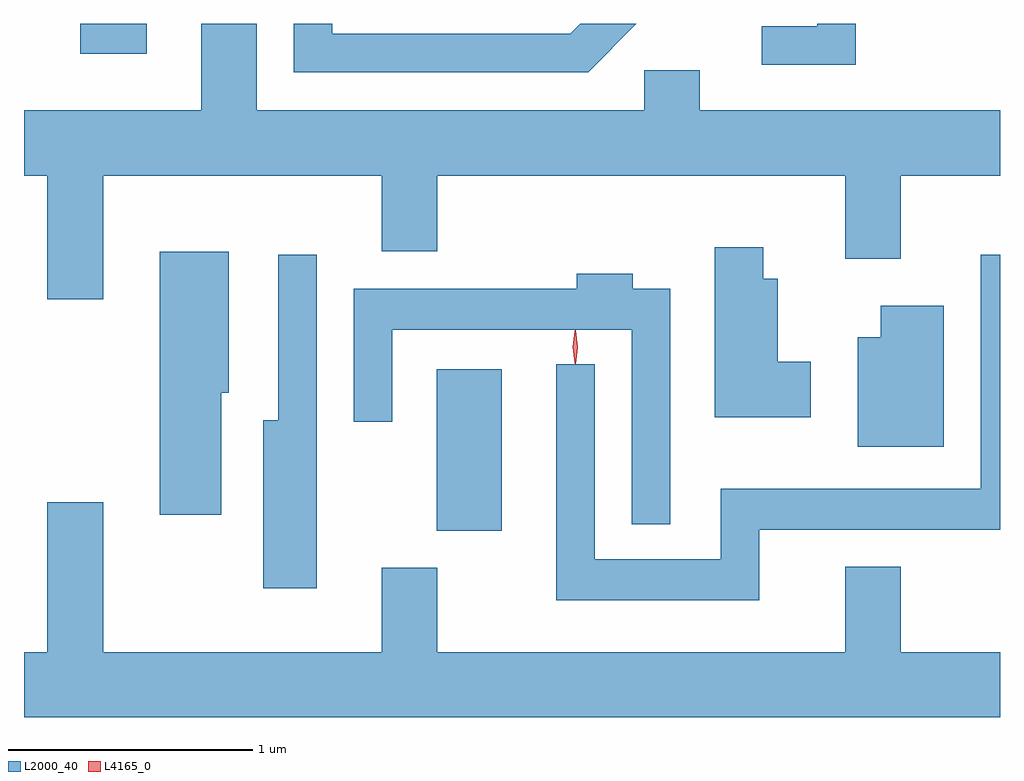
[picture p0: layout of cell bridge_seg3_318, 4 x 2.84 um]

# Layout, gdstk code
import gdstk
lib = gdstk.Library(unit=1e-6, precision=1e-09)
def R(c, l, rs):  # rectangles x0, y0, x1, y1
    for r in rs: c.add(gdstk.rectangle(r[:2], r[2:], *l))
def P(c, l, *ps):  # polygons
    for p in ps: c.add(gdstk.Polygon(p, *l))
L2000_40 = (2000, 40)
L4165_0 = (4165, 0)

bridge_seg3_318 = lib.new_cell('bridge_seg3_318')
R(bridge_seg3_318, L2000_40, [(578.606,1195.601,578.874,1196.264), (577.146,1197.556,577.418,1197.68)])
P(bridge_seg3_318, L2000_40, [(580.324,1197.68),(580.166,1197.68),(580.166,1197.669),(579.938,1197.669),(579.938,1197.511),(580.324,1197.511)],
  [(577.239,1197.056),(578.381,1197.056),(578.381,1196.746),(578.609,1196.746),(578.609,1197.056),(580.281,1197.056),(580.281,1196.716),(580.509,1196.716),(580.509,1197.056),(580.915,1197.056),(580.915,1197.324),(579.684,1197.324),(579.684,1197.489),(579.456,1197.489),(579.456,1197.324),(577.869,1197.324),(577.869,1197.68),(577.641,1197.68),(577.641,1197.324),(576.915,1197.324),(576.915,1197.056),(577.011,1197.056),(577.011,1196.551),(577.239,1196.551)],
  [(579.425,1197.68),(579.195,1197.68),(579.154,1197.639),(578.179,1197.639),(578.179,1197.68),(578.021,1197.68),(578.021,1197.481),(579.227,1197.481)],
  [(580.139,1196.294),(580.004,1196.294),(580.004,1196.634),(579.944,1196.634),(579.944,1196.764),(579.746,1196.764),(579.746,1196.066),(580.139,1196.066)],
  [(577.724,1196.166),(577.754,1196.166),(577.754,1196.744),(577.471,1196.744),(577.471,1195.666),(577.724,1195.666)],
  [(579.929,1195.606),(580.915,1195.606),(580.915,1196.733),(580.836,1196.733),(580.836,1195.774),(579.771,1195.774),(579.771,1195.484),(579.254,1195.484),(579.254,1196.283),(579.096,1196.283),(579.096,1195.316),(579.929,1195.316)],
  [(578.114,1196.733),(577.956,1196.733),(577.956,1196.054),(577.896,1196.054),(577.896,1195.366),(578.114,1195.366)],
  [(579.564,1196.594),(579.409,1196.594),(579.409,1196.654),(579.181,1196.654),(579.181,1196.594),(578.266,1196.594),(578.266,1196.048),(578.424,1196.048),(578.424,1196.426),(579.406,1196.426),(579.406,1195.628),(579.564,1195.628)],
  [(580.684,1196.524),(580.426,1196.524),(580.426,1196.394),(580.331,1196.394),(580.331,1195.946),(580.684,1195.946)],
  [(580.915,1195.104),(580.509,1195.104),(580.509,1195.454),(580.281,1195.454),(580.281,1195.104),(578.609,1195.104),(578.609,1195.449),(578.381,1195.449),(578.381,1195.104),(577.239,1195.104),(577.239,1195.719),(577.011,1195.719),(577.011,1195.104),(576.915,1195.104),(576.915,1194.836),(580.915,1194.836)])
P(bridge_seg3_318, L4165_0, [(579.174,1196.284),(579.165,1196.353),(579.174,1196.422),(579.175,1196.423),(579.176,1196.422),(579.185,1196.353),(579.176,1196.284),(579.175,1196.284)],
  [(579.174,1196.287),(579.173,1196.288),(579.164,1196.354),(579.173,1196.42),(579.174,1196.42),(579.174,1196.42),(579.184,1196.354),(579.174,1196.288)])

lib.write_gds('bridge_seg3_318.gds')
